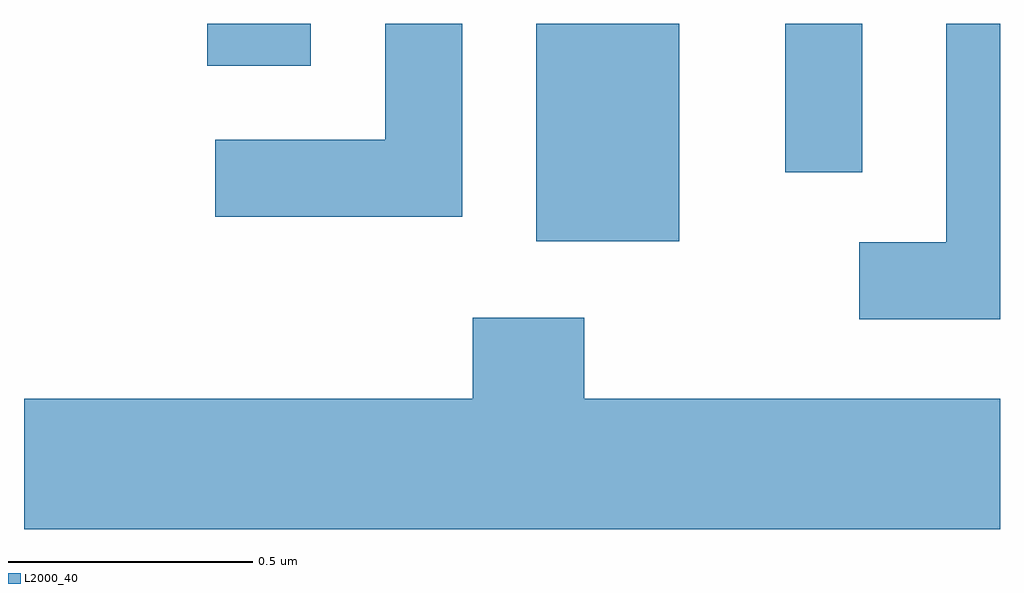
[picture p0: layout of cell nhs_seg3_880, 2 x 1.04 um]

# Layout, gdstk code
import gdstk
lib = gdstk.Library(unit=1e-6, precision=1e-09)
def R(c, l, rs):  # rectangles x0, y0, x1, y1
    for r in rs: c.add(gdstk.rectangle(r[:2], r[2:], *l))
def P(c, l, *ps):  # polygons
    for p in ps: c.add(gdstk.Polygon(p, *l))
L2000_40 = (2000, 40)

nhs_seg3_880 = lib.new_cell('nhs_seg3_880')
R(nhs_seg3_880, L2000_40, [(192.661,1175.446,192.954,1175.892), (193.171,1175.588,193.329,1175.892), (191.986,1175.806,192.199,1175.892)])
P(nhs_seg3_880, L2000_40, [(193.611,1175.892),(193.501,1175.892),(193.501,1175.444),(193.323,1175.444),(193.323,1175.286),(193.611,1175.286)],
  [(192.509,1175.892),(192.351,1175.892),(192.351,1175.654),(192.003,1175.654),(192.003,1175.496),(192.509,1175.496)],
  [(193.611,1175.124),(192.759,1175.124),(192.759,1175.289),(192.531,1175.289),(192.531,1175.124),(191.611,1175.124),(191.611,1174.856),(193.611,1174.856)])

lib.write_gds('nhs_seg3_880.gds')
